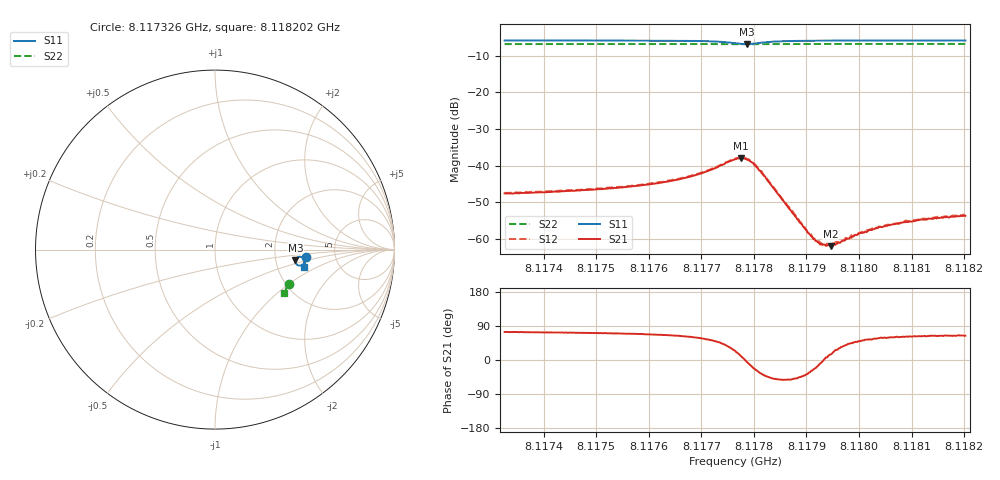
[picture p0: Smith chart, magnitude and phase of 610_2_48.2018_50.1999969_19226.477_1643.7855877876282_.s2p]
#  HZ  S  RI  R  50.00
! Rohde & Schwarz Vector Network Analyzer
! Rohde-Schwarz,ZNB20-2Port,1311601062101988,3.16
! Created: UTC 3/20/2024, 12:03:22 PM
! freq[Hz]  re:S11  im:S11  re:S21  im:S21  re:S12  im:S12  re:S22  im:S22
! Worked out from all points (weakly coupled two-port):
!   401 points, 8.117326 GHz to 8.118202 GHz, reference 50 ohm
!   highest |S21| = -37.96 dB at 8.117775 GHz (marker M1); lowest = -61.9 dB at 8.117946 GHz (marker M2)
!   lowest |S11| = -6.9 dB at 8.117786 GHz (marker M3), VSWR 2.65, Z = 129 - j19.5 ohm
!   |S11| at or under -10 dB: nowhere
!   |S22| runs from -6.9 to -6.8 dB; largest |S21 - S12| = 0.0005
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8.1173258e9  0.5053 -0.0402  0.00117 0.00404  0.0012 0.00411  0.4104 -0.1899
8.1174726e9  0.5035 -0.053  0.00148 0.00443  0.00155 0.00447  0.4063 -0.1997
8.1175515e9  0.5019 -0.0609  0.00177 0.00477  0.00185 0.00487  0.404 -0.2046
8.1176194e9  0.4994 -0.0691  0.00232 0.00532  0.00243 0.00547  0.4019 -0.209
8.1176567e9  0.4968 -0.0746  0.00286 0.00583  0.00297 0.00596  0.4007 -0.2115
8.117694e9  0.4919 -0.0812  0.00398 0.00652  0.00409 0.00664  0.3992 -0.214
8.1177641e9  0.457 -0.0845  0.0112 0.00504  0.0115 0.00505  0.3957 -0.2179
8.117775e9  0.4493 -0.0743  0.0124 0.00235  0.0127 0.0024  0.3952 -0.218
8.117786e9  0.4477 -0.0601  0.0122 -0.000901  0.0125 -0.000739  0.3949 -0.2179
8.1177948e9  0.4524 -0.0494  0.0109 -0.00302  0.0112 -0.00323  0.395 -0.218
8.1178101e9  0.4671 -0.0401  0.00727 -0.00465  0.00756 -0.00498  0.3954 -0.2188
8.1178978e9  0.4981 -0.0599  0.00106 -0.000881  0.00109 -0.000916  0.3939 -0.225
8.1179109e9  0.4989 -0.0625  0.000952 -0.000504  0.000944 -0.000535  0.3934 -0.226
8.1179219e9  0.4991 -0.0645  0.000871 -0.000241  0.000903 -0.000268  0.3929 -0.2268
8.1179306e9  0.4994 -0.0659  0.000843 -5.55e-05  0.000832 -8.72e-05  0.3928 -0.2274
8.117946e9  0.4996 -0.0682  0.000778 0.000206  0.000802 0.000221  0.3922 -0.2284
8.1179591e9  0.4997 -0.0701  0.000777 0.000397  0.000825 0.000399  0.3919 -0.2292
8.1179964e9  0.4998 -0.0749  0.000774 0.000838  0.000748 0.000889  0.3905 -0.2317
8.1180161e9  0.4996 -0.0773  0.000752 0.00103  0.000784 0.00109  0.3898 -0.2329
8.1180578e9  0.4993 -0.0815  0.000792 0.00133  0.000801 0.00133  0.3885 -0.2356
8.1181213e9  0.4986 -0.0876  0.000831 0.00165  0.000873 0.0017  0.3863 -0.2395
8.1182024e9  0.4974 -0.0948  0.000908 0.00187  0.00092 0.0019  0.3834 -0.2444
